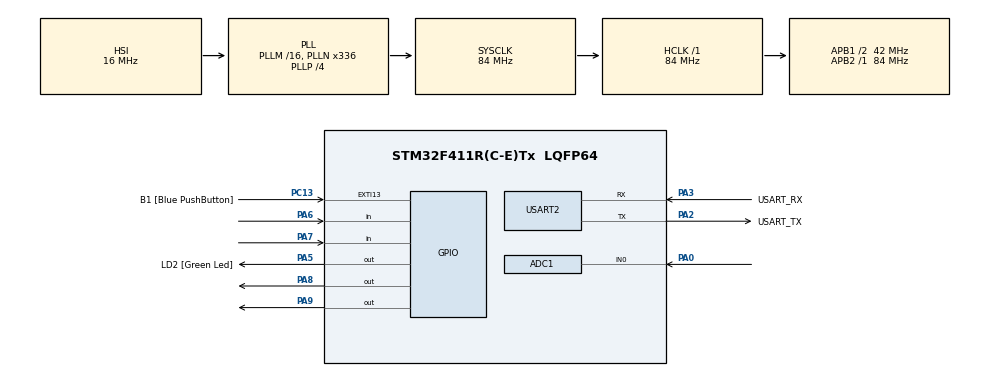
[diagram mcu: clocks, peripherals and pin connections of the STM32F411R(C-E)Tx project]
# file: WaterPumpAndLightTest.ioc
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ADC1.Channel-2\#ChannelRegularConversion=ADC_CHANNEL_0
ADC1.NbrOfConversionFlag=1
ADC1.Rank-2\#ChannelRegularConversion=1
ADC1.SamplingTime-2\#ChannelRegularConversion=ADC_SAMPLETIME_3CYCLES
ADC1.master=1
Mcu.Family=STM32F4
Mcu.Name=STM32F411R(C-E)Tx
Mcu.Package=LQFP64
NVIC.PriorityGroup=NVIC_PRIORITYGROUP_0
PA0-WKUP.Signal=ADCx_IN0
PA13.GPIO_Label=TMS
PA13.Mode=Serial_Wire
PA13.Signal=SYS_JTMS-SWDIO
PA14.GPIO_Label=TCK
PA14.Mode=Serial_Wire
PA14.Signal=SYS_JTCK-SWCLK
PA2.GPIO_Label=USART_TX
PA2.Mode=Asynchronous
PA2.Signal=USART2_TX
PA3.GPIO_Label=USART_RX
PA3.Mode=Asynchronous
PA3.Signal=USART2_RX
PA5.GPIO_Label=LD2 [Green Led]
PA5.Signal=GPIO_Output
PA6.Signal=GPIO_Input
PA7.Signal=GPIO_Input
PA8.Signal=GPIO_Output
PA9.Signal=GPIO_Output
PB3.GPIO_Label=SWO
PB3.Signal=SYS_JTDO-SWO
PC13-ANTI_TAMP.GPIO_Label=B1 [Blue PushButton]
PC13-ANTI_TAMP.GPIO_ModeDefaultEXTI=GPIO_MODE_IT_FALLING
PC13-ANTI_TAMP.Signal=GPXTI13
PC14-OSC32_IN.Mode=LSE-External-Oscillator
PC14-OSC32_IN.Signal=RCC_OSC32_IN
PC15-OSC32_OUT.Mode=LSE-External-Oscillator
PC15-OSC32_OUT.Signal=RCC_OSC32_OUT
PH0\ -\ OSC_IN.Mode=HSE-External-Clock-Source
PH0\ -\ OSC_IN.Signal=RCC_OSC_IN
PH1\ -\ OSC_OUT.Mode=HSE-External-Clock-Source
PH1\ -\ OSC_OUT.Signal=RCC_OSC_OUT
ProjectManager.HeapSize=0x200
ProjectManager.StackSize=0x400
ProjectManager.TargetToolchain=STM32CubeIDE
RCC.48MHZClocksFreq_Value=84000000
RCC.AHBFreq_Value=84000000
RCC.APB1CLKDivider=RCC_HCLK_DIV2
RCC.APB1Freq_Value=42000000
RCC.APB1TimFreq_Value=84000000
RCC.APB2Freq_Value=84000000
RCC.APB2TimFreq_Value=84000000
RCC.CortexFreq_Value=84000000
RCC.FLatency-AdvancedSettings=FLASH_LATENCY_2
RCC.HCLKFreq_Value=84000000
RCC.HSE_VALUE=8000000
RCC.HSI_VALUE=16000000
RCC.PLLN=336
RCC.PLLP=RCC_PLLP_DIV4
RCC.SYSCLKFreq_VALUE=84000000
RCC.SYSCLKSource=RCC_SYSCLKSOURCE_PLLCLK
RCC.VCOOutputFreq_Value=336000000
SH.ADCx_IN0.0=ADC1_IN0,IN0
USART2.VirtualMode=VM_ASYNC
board=NUCLEO-F411RE

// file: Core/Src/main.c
/* USER CODE BEGIN Header */
/**
  ******************************************************************************
  * @file           : main.c
  * @brief          : Main program body
  ******************************************************************************
  * @attention
  *
  * <h2><center>&copy; Copyright (c) 2021 STMicroelectronics.
  * All rights reserved.</center></h2>
  *
  * This software component is licensed by ST under BSD 3-Clause license,
  * the "License"; You may not use this file except in compliance with the
  * License. You may obtain a copy of the License at:
  *                        opensource.org/licenses/BSD-3-Clause
  *
  ******************************************************************************
  */
/* USER CODE END Header */
#include "main.h"

/* USER CODE BEGIN PTD */
int humidData[10];
int humidSum = 0;
int mFront = 0;
int mSize = 0;
int mValue = 10;
/* USER CODE END PTD */

ADC_HandleTypeDef hadc1;

UART_HandleTypeDef huart2;

void SystemClock_Config(void);
static void MX_GPIO_Init(void);
static void MX_USART2_UART_Init(void);
static void MX_ADC1_Init(void);

/* USER CODE BEGIN 0 */
int updateAvgHumidValue(int newValue) {
	if (mSize < mValue) {
		humidData[mFront + mSize] = newValue;
		humidSum += newValue;
		mSize++;
		return humidSum/mSize;
	}

	humidSum -= humidData[mFront];
	humidData[mFront] = newValue;
	humidSum += newValue;
	mFront = (mFront + 1) % mValue;
	return humidSum/mValue;
}
/* USER CODE END 0 */

int main(void)
{
  /* USER CODE BEGIN 1 */
  int pa9_isOn = 0;
  int pa8_isOn = 0;
  int pa6_isPressed = 0;
  int pa7_isPressed = 0;
  char buffer[50];
  uint32_t vLight;

  int humid_max = 3700;
  int humid_min = 3300;
  int humidPercent;
  int humidRange = humid_max - humid_min;
  /* USER CODE END 1 */

  /* MCU Configuration--------------------------------------------------------*/

  /* Reset of all peripherals, Initializes the Flash interface and the Systick. */
  HAL_Init();

  /* Configure the system clock */
  SystemClock_Config();

  /* Initialize all configured peripherals */
  MX_GPIO_Init();
  MX_USART2_UART_Init();
  MX_ADC1_Init();

  /* Infinite loop */
  while (1)
  {

    /* USER CODE BEGIN 3 */
//    if(HAL_GPIO_ReadPin(GPIOA, GPIO_PIN_6) == GPIO_PIN_RESET) {
//      if(pa6_isPressed == 0) {
//    	  pa6_isPressed = 1;
//    	  pa8_isOn = (pa8_isOn + 1) % 2;
//		  HAL_GPIO_TogglePin(GPIOA, GPIO_PIN_8);
//		  if(pa8_isOn == 1) {
//			sprintf(buffer, "pa8: on");
//			HAL_UART_Transmit(&huart2, buffer, strlen(buffer), 1000);
//		  } else {
//			sprintf(buffer, "pa8: off");
//			HAL_UART_Transmit(&huart2, buffer, strlen(buffer), 1000);
//		  }
//      }
//    } else {
//      pa6_isPressed = 0;
//    }
//
//    if(HAL_GPIO_ReadPin(GPIOC, GPIO_PIN_13) == GPIO_PIN_RESET) {
//          if(pa7_isPressed == 0) {
//        	  pa7_isPressed = 1;
//        	  pa9_isOn = (pa9_isOn + 1) % 2;
//    		  HAL_GPIO_TogglePin(GPIOA, GPIO_PIN_9);
//    		  if(pa9_isOn == 1) {
//    			sprintf(buffer, "pa9: on");
//    			HAL_UART_Transmit(&huart2, buffer, strlen(buffer), 1000);
//    		  } else {
//    			sprintf(buffer, "pa9: off");
//    			HAL_UART_Transmit(&huart2, buffer, strlen(buffer), 1000);
//    		  }
//          }
//     } else {
//       pa7_isPressed = 0;
//     }

	  HAL_ADC_Start(&hadc1);
	  HAL_ADC_PollForConversion(&hadc1, 1);
	  vLight = HAL_ADC_GetValue(&hadc1);
	  if (vLight < 3300) {
		  vLight = 3300;
	  }
	  if (vLight > 3700) {
		  vLight = 3700;
	  }
	  int humid_value = updateAvgHumidValue(vLight);
	  humidPercent = ((humid_max - humid_value) * 100) / humidRange;

	  sprintf(buffer, "humid value: %d (%d percent)  ",vLight,humidPercent);
	  HAL_UART_Transmit(&huart2, buffer, strlen(buffer), 1000);
	  HAL_ADC_Stop(&hadc1);

	  if(HAL_GPIO_ReadPin(GPIOA, GPIO_PIN_6) == GPIO_PIN_RESET) {
		  HAL_GPIO_WritePin(GPIOA, GPIO_PIN_8, GPIO_PIN_RESET);
		  sprintf(buffer, "pa8(pump,on): RESET");
		  HAL_UART_Transmit(&huart2, buffer, strlen(buffer), 1000);
	  } else {
		  HAL_GPIO_WritePin(GPIOA, GPIO_PIN_8, GPIO_PIN_SET);
		  sprintf(buffer, "pa8(pump,blue,off): SET");
		  HAL_UART_Transmit(&huart2, buffer, strlen(buffer), 1000);
	  }

	  if(HAL_GPIO_ReadPin(GPIOA, GPIO_PIN_7) == GPIO_PIN_RESET) {
		  HAL_GPIO_WritePin(GPIOA, GPIO_PIN_9, GPIO_PIN_RESET);
		  sprintf(buffer, "  pa9(light,on): RESET\n\r");
		  HAL_UART_Transmit(&huart2, buffer, strlen(buffer), 1000);
	  } else {
		  HAL_GPIO_WritePin(GPIOA, GPIO_PIN_9, GPIO_PIN_SET);
		  sprintf(buffer, "  pa9(light,green,off): SET\n\r");
		  HAL_UART_Transmit(&huart2, buffer, strlen(buffer), 1000);
	  }

//	  if(vLight > 2700) {
//		  HAL_GPIO_WritePin(GPIOA, GPIO_PIN_9, GPIO_PIN_RESET);
//		  sprintf(buffer, "  pa9(light,on): Auto\n\r");
//		  HAL_UART_Transmit(&huart2, buffer, strlen(buffer), 1000);
//	  } else {
//		  if(HAL_GPIO_ReadPin(GPIOA, GPIO_PIN_7) == GPIO_PIN_RESET) {
//		  		  HAL_GPIO_WritePin(GPIOA, GPIO_PIN_9, GPIO_PIN_RESET);
//		  		  sprintf(buffer, "  pa9(light,on): RESET\n\r");
//		  		  HAL_UART_Transmit(&huart2, buffer, strlen(buffer), 1000);
//		  	  } else {
//		  		  HAL_GPIO_WritePin(GPIOA, GPIO_PIN_9, GPIO_PIN_SET);
//		  		  sprintf(buffer, "  pa9(light,green,off): SET\n\r");
//		  		  HAL_UART_Transmit(&huart2, buffer, strlen(buffer), 1000);
//		  	  }
//	  }
    //sprintf(buffer, "connect");
    //HAL_UART_Transmit(&huart2, buffer, strlen(buffer), 1000);
    HAL_Delay(100);
  }
  /* USER CODE END 3 */
}

void SystemClock_Config(void)
{
  RCC_OscInitTypeDef RCC_OscInitStruct = {0};
  RCC_ClkInitTypeDef RCC_ClkInitStruct = {0};

  /** Configure the main internal regulator output voltage
  */
  __HAL_RCC_PWR_CLK_ENABLE();
  __HAL_PWR_VOLTAGESCALING_CONFIG(PWR_REGULATOR_VOLTAGE_SCALE1);
  /** Initializes the RCC Oscillators according to the specified parameters
  * in the RCC_OscInitTypeDef structure.
  */
  RCC_OscInitStruct.OscillatorType = RCC_OSCILLATORTYPE_HSI;
  RCC_OscInitStruct.HSIState = RCC_HSI_ON;
  RCC_OscInitStruct.HSICalibrationValue = RCC_HSICALIBRATION_DEFAULT;
  RCC_OscInitStruct.PLL.PLLState = RCC_PLL_ON;
  RCC_OscInitStruct.PLL.PLLSource = RCC_PLLSOURCE_HSI;
  RCC_OscInitStruct.PLL.PLLM = 16;
  RCC_OscInitStruct.PLL.PLLN = 336;
  RCC_OscInitStruct.PLL.PLLP = RCC_PLLP_DIV4;
  RCC_OscInitStruct.PLL.PLLQ = 4;
  if (HAL_RCC_OscConfig(&RCC_OscInitStruct) != HAL_OK)
  {
    Error_Handler();
  }
  /** Initializes the CPU, AHB and APB buses clocks
  */
  RCC_ClkInitStruct.ClockType = RCC_CLOCKTYPE_HCLK|RCC_CLOCKTYPE_SYSCLK
                              |RCC_CLOCKTYPE_PCLK1|RCC_CLOCKTYPE_PCLK2;
  RCC_ClkInitStruct.SYSCLKSource = RCC_SYSCLKSOURCE_PLLCLK;
  RCC_ClkInitStruct.AHBCLKDivider = RCC_SYSCLK_DIV1;
  RCC_ClkInitStruct.APB1CLKDivider = RCC_HCLK_DIV2;
  RCC_ClkInitStruct.APB2CLKDivider = RCC_HCLK_DIV1;

  if (HAL_RCC_ClockConfig(&RCC_ClkInitStruct, FLASH_LATENCY_2) != HAL_OK)
  {
    Error_Handler();
  }
}

static void MX_ADC1_Init(void)
{

  ADC_ChannelConfTypeDef sConfig = {0};

  /** Configure the global features of the ADC (Clock, Resolution, Data Alignment and number of conversion)
  */
  hadc1.Instance = ADC1;
  hadc1.Init.ClockPrescaler = ADC_CLOCK_SYNC_PCLK_DIV4;
  hadc1.Init.Resolution = ADC_RESOLUTION_12B;
  hadc1.Init.ScanConvMode = DISABLE;
  hadc1.Init.ContinuousConvMode = DISABLE;
  hadc1.Init.DiscontinuousConvMode = DISABLE;
  hadc1.Init.ExternalTrigConvEdge = ADC_EXTERNALTRIGCONVEDGE_NONE;
  hadc1.Init.ExternalTrigConv = ADC_SOFTWARE_START;
  hadc1.Init.DataAlign = ADC_DATAALIGN_RIGHT;
  hadc1.Init.NbrOfConversion = 1;
  hadc1.Init.DMAContinuousRequests = DISABLE;
  hadc1.Init.EOCSelection = ADC_EOC_SINGLE_CONV;
  if (HAL_ADC_Init(&hadc1) != HAL_OK)
  {
    Error_Handler();
  }
  /** Configure for the selected ADC regular channel its corresponding rank in the sequencer and its sample time.
  */
  sConfig.Channel = ADC_CHANNEL_0;
  sConfig.Rank = 1;
  sConfig.SamplingTime = ADC_SAMPLETIME_3CYCLES;
  if (HAL_ADC_ConfigChannel(&hadc1, &sConfig) != HAL_OK)
  {
    Error_Handler();
  }

}

static void MX_USART2_UART_Init(void)
{

  huart2.Instance = USART2;
  huart2.Init.BaudRate = 115200;
  huart2.Init.WordLength = UART_WORDLENGTH_8B;
  huart2.Init.StopBits = UART_STOPBITS_1;
  huart2.Init.Parity = UART_PARITY_NONE;
  huart2.Init.Mode = UART_MODE_TX_RX;
  huart2.Init.HwFlowCtl = UART_HWCONTROL_NONE;
  huart2.Init.OverSampling = UART_OVERSAMPLING_16;
  if (HAL_UART_Init(&huart2) != HAL_OK)
  {
    Error_Handler();
  }

}

static void MX_GPIO_Init(void)
{
  GPIO_InitTypeDef GPIO_InitStruct = {0};

  /* GPIO Ports Clock Enable */
  __HAL_RCC_GPIOC_CLK_ENABLE();
  __HAL_RCC_GPIOH_CLK_ENABLE();
  __HAL_RCC_GPIOA_CLK_ENABLE();
  __HAL_RCC_GPIOB_CLK_ENABLE();

  /*Configure GPIO pin Output Level */
  HAL_GPIO_WritePin(GPIOA, LD2_Pin|GPIO_PIN_8|GPIO_PIN_9, GPIO_PIN_RESET);

  /*Configure GPIO pin : B1_Pin */
  GPIO_InitStruct.Pin = B1_Pin;
  GPIO_InitStruct.Mode = GPIO_MODE_IT_FALLING;
  GPIO_InitStruct.Pull = GPIO_NOPULL;
  HAL_GPIO_Init(B1_GPIO_Port, &GPIO_InitStruct);

  /*Configure GPIO pins : LD2_Pin PA8 PA9 */
  GPIO_InitStruct.Pin = LD2_Pin|GPIO_PIN_8|GPIO_PIN_9;
  GPIO_InitStruct.Mode = GPIO_MODE_OUTPUT_PP;
  GPIO_InitStruct.Pull = GPIO_NOPULL;
  GPIO_InitStruct.Speed = GPIO_SPEED_FREQ_LOW;
  HAL_GPIO_Init(GPIOA, &GPIO_InitStruct);

  /*Configure GPIO pins : PA6 PA7 */
  GPIO_InitStruct.Pin = GPIO_PIN_6|GPIO_PIN_7;
  GPIO_InitStruct.Mode = GPIO_MODE_INPUT;
  GPIO_InitStruct.Pull = GPIO_NOPULL;
  HAL_GPIO_Init(GPIOA, &GPIO_InitStruct);

}

void Error_Handler(void)
{
  __disable_irq();
  while (1)
  {
  }
}

/************************ (C) COPYRIGHT STMicroelectronics *****END OF FILE****/
